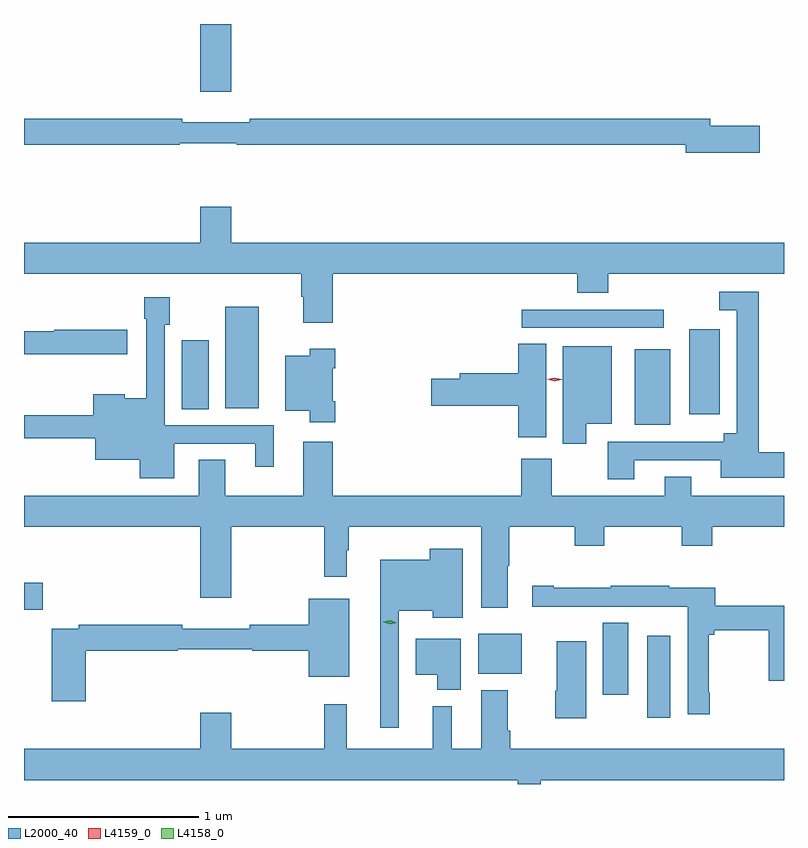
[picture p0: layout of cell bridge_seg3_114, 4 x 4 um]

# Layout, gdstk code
import gdstk
lib = gdstk.Library(unit=1e-6, precision=1e-09)
def R(c, l, rs):  # rectangles x0, y0, x1, y1
    for r in rs: c.add(gdstk.rectangle(r[:2], r[2:], *l))
def P(c, l, *ps):  # polygons
    for p in ps: c.add(gdstk.Polygon(p, *l))
L2000_40 = (2000, 40)
L4158_0 = (4158, 0)
L4159_0 = (4159, 0)

bridge_seg3_114 = lib.new_cell('bridge_seg3_114')
R(bridge_seg3_114, L2000_40, [(347.18,742.536,347.302,742.966), (346.946,742.656,347.08,743.036), (346.292,742.766,346.519,742.978), (343.9,743.105,343.999,743.247), (347.114,744.077,347.302,744.475), (347.402,744.132,347.563,744.58), (344.729,744.16,344.872,744.523), (344.96,744.164,345.136,744.7), (346.521,744.588,347.266,744.684), (344.828,745.83,344.992,746.187)])
P(bridge_seg3_114, L2000_40, [(347.773,745.652),(347.512,745.652),(347.512,745.688),(345.088,745.688),(345.088,745.669),(344.732,745.669),(344.732,745.688),(343.9,745.688),(343.9,745.552),(344.72,745.552),(344.72,745.56),(345.02,745.56),(345.02,745.552),(347.384,745.552),(347.384,745.51),(347.773,745.51)],
  [(345.524,744.872),(346.811,744.872),(346.811,744.773),(346.976,744.773),(346.976,744.872),(347.9,744.872),(347.9,745.036),(344.992,745.036),(344.992,745.225),(344.828,745.225),(344.828,745.036),(343.9,745.036),(343.9,744.872),(345.359,744.872),(345.359,744.752),(345.371,744.752),(345.371,744.615),(345.524,744.615)],
  [(347.113,743.892),(347.567,743.892),(347.567,743.798),(347.9,743.798),(347.9,743.933),(347.768,743.933),(347.768,744.777),(347.559,744.777),(347.559,744.681),(347.652,744.681),(347.652,744.034),(347.582,744.034),(347.582,743.988),(346.973,743.988),(346.973,743.79),(347.113,743.79)],
  [(344.692,743.979),(345.116,743.979),(345.116,743.856),(345.214,743.856),(345.214,744.075),(344.64,744.075),(344.64,744.603),(344.667,744.603),(344.667,744.748),(344.532,744.748),(344.532,744.635),(344.544,744.635),(344.544,744.217),(344.43,744.217),(344.43,744.238),(344.264,744.238),(344.264,744.127),(343.9,744.127),(343.9,744.006),(344.276,744.006),(344.276,743.894),(344.51,743.894),(344.51,743.795),(344.692,743.795)],
  [(344.443,744.579),(344.058,744.579),(344.058,744.571),(343.9,744.571),(343.9,744.45),(344.158,744.45),(344.158,744.449),(344.443,744.449)],
  [(346.648,744.503),(346.502,744.503),(346.502,744.35),(346.193,744.35),(346.193,744.32),(346.044,744.32),(346.044,744.178),(346.502,744.178),(346.502,744.012),(346.648,744.012)],
  [(346.858,744.083),(346.993,744.083),(346.993,744.49),(346.736,744.49),(346.736,743.979),(346.858,743.979)],
  [(345.539,744.202),(345.526,744.202),(345.526,744.374),(345.539,744.374),(345.539,744.478),(345.404,744.478),(345.404,744.442),(345.275,744.442),(345.275,744.152),(345.404,744.152),(345.404,744.09),(345.539,744.09)],
  [(346.447,743.336),(346.455,743.336),(346.455,743.54),(346.798,743.54),(346.798,743.441),(346.953,743.441),(346.953,743.54),(347.362,743.54),(347.362,743.441),(347.522,743.441),(347.522,743.54),(347.9,743.54),(347.9,743.704),(347.413,743.704),(347.413,743.803),(347.273,743.803),(347.273,743.704),(346.677,743.704),(346.677,743.899),(346.517,743.899),(346.517,743.704),(345.524,743.704),(345.524,743.989),(345.371,743.989),(345.371,743.704),(344.959,743.704),(344.959,743.894),(344.819,743.894),(344.819,743.704),(343.9,743.704),(343.9,743.54),(344.828,743.54),(344.828,743.166),(344.992,743.166),(344.992,743.54),(345.481,743.54),(345.481,743.277),(345.598,743.277),(345.598,743.417),(345.61,743.417),(345.61,743.54),(346.307,743.54),(346.307,743.115),(346.447,743.115)],
  [(345.873,743.099),(346.052,743.099),(346.052,743.063),(346.21,743.063),(346.21,743.425),(346.035,743.425),(346.035,743.368),(345.776,743.368),(345.776,742.482),(345.873,742.482)],
  [(347.51,742.666),(347.503,742.666),(347.503,742.973),(347.532,742.973),(347.532,742.996),(347.821,742.996),(347.821,742.731),(347.9,742.731),(347.9,743.125),(347.537,743.125),(347.537,743.22),(347.297,743.22),(347.297,743.23),(346.987,743.23),(346.987,743.22),(346.687,743.22),(346.687,743.23),(346.575,743.23),(346.575,743.12),(346.85,743.12),(346.85,743.121),(347.184,743.121),(347.184,743.12),(347.394,743.12),(347.394,742.554),(347.51,742.554)],
  [(344.225,742.888),(344.708,742.888),(344.708,742.896),(345.102,742.896),(345.102,742.888),(345.398,742.888),(345.398,742.751),(345.613,742.751),(345.613,743.161),(345.398,743.161),(345.398,743.024),(345.088,743.024),(345.088,743.005),(344.732,743.005),(344.732,743.024),(344.188,743.024),(344.188,743.004),(344.047,743.004),(344.047,742.623),(344.225,742.623)],
  [(346.198,742.951),(345.962,742.951),(345.962,742.763),(346.076,742.763),(346.076,742.682),(346.198,742.682)],
  [(346.858,742.939),(346.703,742.939),(346.703,742.677),(346.697,742.677),(346.697,742.533),(346.858,742.533)],
  [(346.621,742.208),(347.9,742.208),(347.9,742.372),(346.46,742.372),(346.46,742.468),(346.447,742.468),(346.447,742.681),(346.307,742.681),(346.307,742.372),(346.15,742.372),(346.15,742.597),(346.052,742.597),(346.052,742.372),(345.599,742.372),(345.599,742.606),(345.481,742.606),(345.481,742.372),(344.992,742.372),(344.992,742.561),(344.828,742.561),(344.828,742.372),(343.9,742.372),(343.9,742.208),(346.499,742.208),(346.499,742.187),(346.621,742.187)])
P(bridge_seg3_114, L4158_0, [(345.827,743.028),(345.792,743.039),(345.791,743.039),(345.792,743.04),(345.828,743.048),(345.863,743.036),(345.863,743.036),(345.863,743.036)])
P(bridge_seg3_114, L4159_0, [(346.692,744.306),(346.654,744.316),(346.654,744.316),(346.654,744.316),(346.692,744.326),(346.729,744.316),(346.729,744.316),(346.729,744.315)])

lib.write_gds('bridge_seg3_114.gds')
